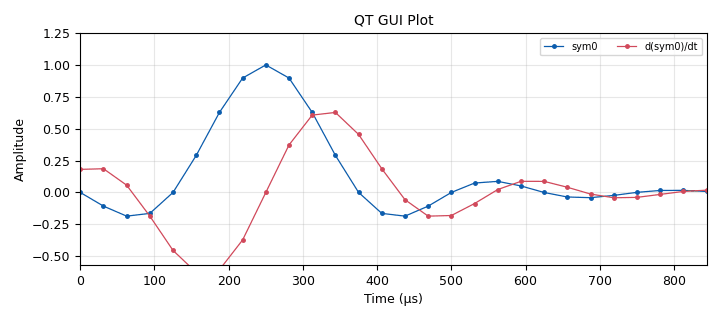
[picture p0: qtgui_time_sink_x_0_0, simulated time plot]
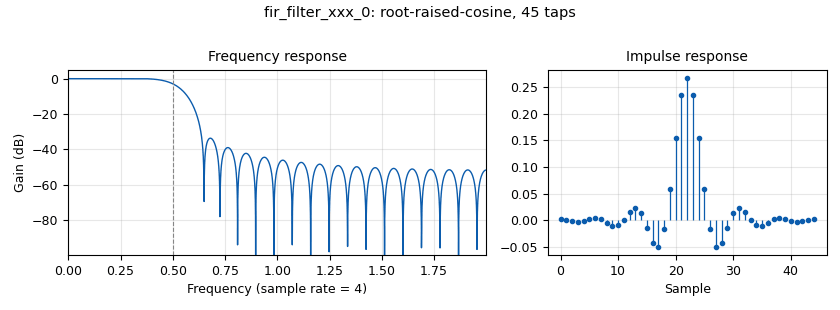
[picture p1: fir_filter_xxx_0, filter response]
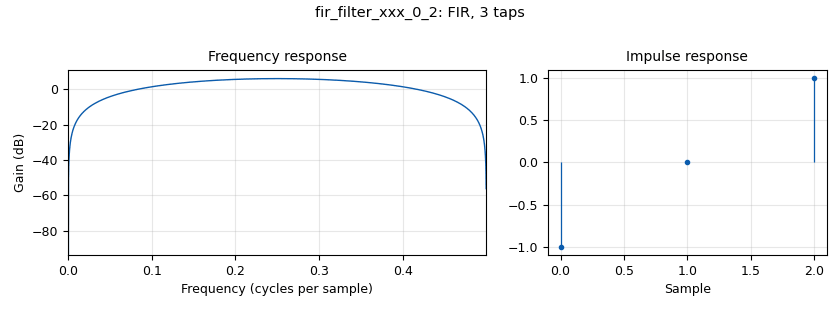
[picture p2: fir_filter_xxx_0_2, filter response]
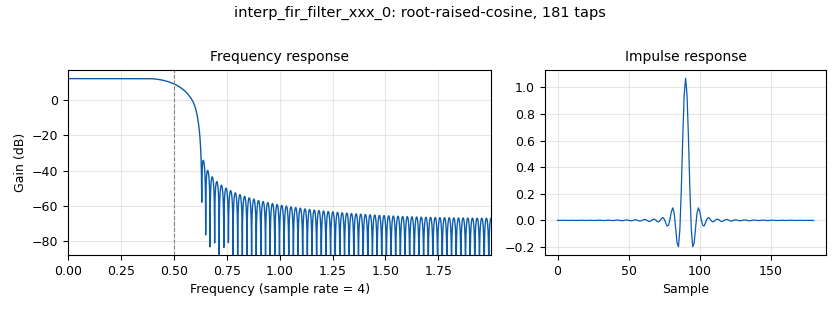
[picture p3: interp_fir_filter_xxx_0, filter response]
options:
  parameters:
    category: Custom
    generate_options: qt_gui
    id: symbol_differential_filter
    output_language: python
  states: {}

blocks:
- name: eb
  id: variable
  parameters:
    value: '0.25'
  states: {}
- name: ntaps
  id: variable
  parameters:
    value: '45'
  states: {}
- name: rate
  id: variable
  parameters:
    value: '1'
  states: {}
- name: rrc_rx
  id: variable
  parameters:
    value: firdes.root_raised_cosine(1.0, sps, 1, eb, ntaps)
  states: {}
- name: rrc_tx
  id: variable
  parameters:
    value: firdes.root_raised_cosine(sps, sps, 1, eb, sps*ntaps)
  states: {}
- name: samp_rate
  id: variable
  parameters:
    value: '32000'
  states: {}
- name: sps
  id: variable
  parameters:
    value: '4'
  states: {}
- name: blocks_delay_0_0
  id: blocks_delay
  parameters:
    delay: '1'
    type: float
  states: {}
- name: blocks_throttle_0
  id: blocks_throttle
  parameters:
    samples_per_second: samp_rate
    type: float
  states: {}
- name: blocks_vector_source_x_0
  id: blocks_vector_source_x
  parameters:
    repeat: 'True'
    type: float
    vector: 49*[0,] + [1,] + 50*[0,]
  states: {}
- name: fir_filter_xxx_0
  id: fir_filter_xxx
  parameters:
    decim: '1'
    taps: rrc_rx
    type: fff
  states: {}
- name: fir_filter_xxx_0_2
  id: fir_filter_xxx
  parameters:
    decim: '1'
    taps: '[-1, 0, 1]'
    type: fff
  states: {}
- name: import_math
  id: import
  parameters:
    imports: import math
  states: {}
- name: interp_fir_filter_xxx_0
  id: interp_fir_filter_xxx
  parameters:
    interp: sps
    taps: rrc_tx
    type: fff
  states: {}
- name: pfb_arb_resampler_xxx_0_0_1
  id: pfb_arb_resampler_xxx
  parameters:
    atten: '100'
    nfilts: '32'
    rrate: rate
    type: fff
  states: {}
- name: qtgui_time_sink_x_0_0
  id: qtgui_time_sink_x
  parameters:
    gui_hint: 0,1,1,1
    label1: sym0
    label2: d(sym0)/dt
    marker1: '0'
    marker2: '0'
    name: QT GUI Plot
    nconnections: '2'
    size: 7*sps
    srate: samp_rate
    tr_delay: 0.00005*sps
    tr_level: '0.8'
    tr_mode: qtgui.TRIG_MODE_NORM
    type: float
    update_time: '0.01'
    width1: '2'
    width2: '2'
    ymax: '1.25'
    ymin: '-0.5'
  states: {}

connections:
- [blocks_delay_0_0, '0', qtgui_time_sink_x_0_0, '0']
- [blocks_throttle_0, '0', interp_fir_filter_xxx_0, '0']
- [blocks_vector_source_x_0, '0', blocks_throttle_0, '0']
- [fir_filter_xxx_0, '0', blocks_delay_0_0, '0']
- [fir_filter_xxx_0, '0', fir_filter_xxx_0_2, '0']
- [fir_filter_xxx_0_2, '0', qtgui_time_sink_x_0_0, '1']
- [interp_fir_filter_xxx_0, '0', pfb_arb_resampler_xxx_0_0_1, '0']
- [pfb_arb_resampler_xxx_0_0_1, '0', fir_filter_xxx_0, '0']

metadata:
  file_format: 1
  grc_version: 3.10.5.0
